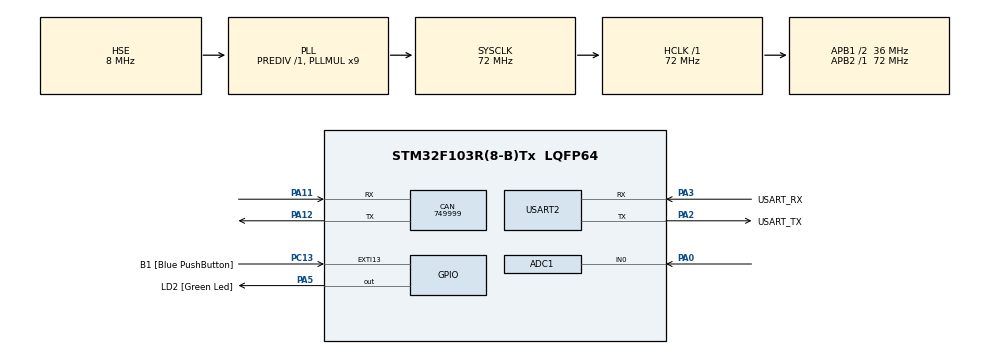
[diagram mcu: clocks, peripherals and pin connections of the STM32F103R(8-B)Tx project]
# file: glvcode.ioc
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ADC1.Channel-0\#ChannelRegularConversion=ADC_CHANNEL_0
ADC1.ContinuousConvMode=ENABLE
ADC1.NbrOfConversionFlag=1
ADC1.Rank-0\#ChannelRegularConversion=1
ADC1.SamplingTime-0\#ChannelRegularConversion=ADC_SAMPLETIME_1CYCLE_5
ADC1.master=1
CAN.BS1=CAN_BS1_1TQ
CAN.BS2=CAN_BS2_1TQ
CAN.CalculateBaudRate=749999
CAN.CalculateTimeBit=1333
CAN.CalculateTimeQuantum=444.44444444444446
Dma.ADC1.0.Direction=DMA_PERIPH_TO_MEMORY
Dma.ADC1.0.Instance=DMA1_Channel1
Dma.ADC1.0.MemDataAlignment=DMA_MDATAALIGN_WORD
Dma.ADC1.0.MemInc=DMA_MINC_ENABLE
Dma.ADC1.0.Mode=DMA_CIRCULAR
Dma.ADC1.0.PeriphDataAlignment=DMA_PDATAALIGN_WORD
Dma.ADC1.0.PeriphInc=DMA_PINC_DISABLE
Dma.ADC1.0.Priority=DMA_PRIORITY_LOW
Dma.Request0=ADC1
Mcu.Family=STM32F1
Mcu.Name=STM32F103R(8-B)Tx
Mcu.Package=LQFP64
NVIC.ADC1_2_IRQn=true\:0\:0\:false\:false\:true\:true\:true\:true
NVIC.DMA1_Channel1_IRQn=true\:0\:0\:false\:false\:true\:false\:true\:true
NVIC.EXTI15_10_IRQn=true\:0\:0\:false\:false\:true\:true\:true\:true
NVIC.PriorityGroup=NVIC_PRIORITYGROUP_4
PA0-WKUP.Signal=ADCx_IN0
PA11.Mode=CAN_Activate
PA11.Signal=CAN_RX
PA12.Mode=CAN_Activate
PA12.Signal=CAN_TX
PA13.GPIO_Label=TMS
PA13.Mode=Serial_Wire
PA13.Signal=SYS_JTMS-SWDIO
PA14.GPIO_Label=TCK
PA14.Mode=Serial_Wire
PA14.Signal=SYS_JTCK-SWCLK
PA2.GPIO_Label=USART_TX
PA2.GPIO_Mode=GPIO_MODE_AF_PP
PA2.GPIO_PuPd=GPIO_NOPULL
PA2.GPIO_Speed=GPIO_SPEED_FREQ_LOW
PA2.Mode=Asynchronous
PA2.Signal=USART2_TX
PA3.GPIO_Label=USART_RX
PA3.GPIO_Mode=GPIO_MODE_AF_PP
PA3.GPIO_PuPd=GPIO_NOPULL
PA3.GPIO_Speed=GPIO_SPEED_FREQ_LOW
PA3.Mode=Asynchronous
PA3.Signal=USART2_RX
PA5.GPIO_Label=LD2 [Green Led]
PA5.GPIO_ModeDefaultOutputPP=GPIO_MODE_OUTPUT_PP
PA5.GPIO_PuPd=GPIO_NOPULL
PA5.GPIO_Speed=GPIO_SPEED_FREQ_LOW
PA5.Signal=GPIO_Output
PB3.GPIO_Label=SWO
PB3.Signal=SYS_JTDO-TRACESWO
PC13-TAMPER-RTC.GPIO_Label=B1 [Blue PushButton]
PC13-TAMPER-RTC.GPIO_PuPd=GPIO_NOPULL
PC13-TAMPER-RTC.Signal=GPXTI13
PC14-OSC32_IN.Signal=RCC_OSC32_IN
PC15-OSC32_OUT.Signal=RCC_OSC32_OUT
PD0-OSC_IN.Mode=HSE-External-Oscillator
PD0-OSC_IN.Signal=RCC_OSC_IN
PD1-OSC_OUT.Mode=HSE-External-Oscillator
PD1-OSC_OUT.Signal=RCC_OSC_OUT
ProjectManager.HeapSize=0x200
ProjectManager.StackSize=0x400
ProjectManager.TargetToolchain=STM32CubeIDE
RCC.ADCPresc=RCC_ADCPCLK2_DIV6
RCC.AHBFreq_Value=72000000
RCC.APB1CLKDivider=RCC_HCLK_DIV2
RCC.APB1Freq_Value=36000000
RCC.APB1TimFreq_Value=72000000
RCC.APB2Freq_Value=72000000
RCC.APB2TimFreq_Value=72000000
RCC.HCLKFreq_Value=72000000
RCC.PLLMUL=RCC_PLL_MUL9
RCC.PLLSourceVirtual=RCC_PLLSOURCE_HSE
RCC.RTCClockSelection=RCC_RTCCLKSOURCE_LSE
RCC.SYSCLKFreq_VALUE=72000000
RCC.SYSCLKSource=RCC_SYSCLKSOURCE_PLLCLK
RCC.USBFreq_Value=72000000
SH.ADCx_IN0.0=ADC1_IN0,IN0
USART2.VirtualMode=VM_ASYNC
board=NUCLEO-F103RB

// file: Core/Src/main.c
/* USER CODE BEGIN Header */
/**
  ******************************************************************************
  * @file           : main.c
  * @brief          : Main program body
  ******************************************************************************
  * @attention
  *
  * Copyright (c) 2024 STMicroelectronics.
  * All rights reserved.
  *
  * This software is licensed under terms that can be found in the LICENSE file
  * in the root directory of this software component.
  * If no LICENSE file comes with this software, it is provided AS-IS.
  *
  ******************************************************************************
  */
/* USER CODE END Header */
#include "main.h"

/* USER CODE END Includes */

ADC_HandleTypeDef hadc1;
DMA_HandleTypeDef hdma_adc1;

CAN_HandleTypeDef hcan;

UART_HandleTypeDef huart2;

/* USER CODE BEGIN PV */
int isInterrupt = 0;
uint16_t adcVal = 0, lvVoltage = 0;
float voltage = 0;
/* USER CODE END PV */

void SystemClock_Config(void);
static void MX_GPIO_Init(void);
static void MX_DMA_Init(void);
static void MX_USART2_UART_Init(void);
static void MX_ADC1_Init(void);
static void MX_CAN_Init(void);
/* USER CODE BEGIN PFP */
void HAL_ADC_ConvCpltCallback(ADC_HandleTypeDef* hadc) //função de tratamento
{
  isInterrupt = 1;
}

float adcVoltageConversion(uint32_t adc_value){
	float v = (3.3*adc_value)/4095 ;
	return v;
}

uint16_t readTwelve(float v){
	uint16_t x = (v*12)/3;
	return x;
}
/* USER CODE END PFP */

/* USER CODE BEGIN 0 */

  /*If continuousconversion mode is DISABLED uncomment below*/
//HAL_ADC_Start_IT (&hadc1);

/* USER CODE END 0 */

int main(void)
{

  /* MCU Configuration--------------------------------------------------------*/

  /* Reset of all peripherals, Initializes the Flash interface and the Systick. */
  HAL_Init();

  /* Configure the system clock */
  SystemClock_Config();

  /* Initialize all configured peripherals */
  MX_GPIO_Init();
  MX_DMA_Init();
  MX_USART2_UART_Init();
  MX_ADC1_Init();
  MX_CAN_Init();
  /* USER CODE BEGIN 2 */
  HAL_ADC_Start_IT (&hadc1);
  /* USER CODE END 2 */

  /* Infinite loop */
  /* USER CODE BEGIN WHILE */
  while (1) {
	   if (isInterrupt == 1) {
	   adcVal = HAL_ADC_GetValue(&hadc1);
	   voltage = adcVoltageConversion(adcVal);
	   lvVoltage = readTwelve(voltage);
	   HAL_Delay(100);
	   isInterrupt = 0;

	   }
  }
    /* USER CODE END WHILE */

  /* USER CODE END 3 */

void SystemClock_Config(void)
{
  RCC_OscInitTypeDef RCC_OscInitStruct = {0};
  RCC_ClkInitTypeDef RCC_ClkInitStruct = {0};
  RCC_PeriphCLKInitTypeDef PeriphClkInit = {0};

  /** Initializes the RCC Oscillators according to the specified parameters
  * in the RCC_OscInitTypeDef structure.
  */
  RCC_OscInitStruct.OscillatorType = RCC_OSCILLATORTYPE_HSE;
  RCC_OscInitStruct.HSEState = RCC_HSE_ON;
  RCC_OscInitStruct.HSEPredivValue = RCC_HSE_PREDIV_DIV1;
  RCC_OscInitStruct.HSIState = RCC_HSI_ON;
  RCC_OscInitStruct.PLL.PLLState = RCC_PLL_ON;
  RCC_OscInitStruct.PLL.PLLSource = RCC_PLLSOURCE_HSE;
  RCC_OscInitStruct.PLL.PLLMUL = RCC_PLL_MUL9;
  if (HAL_RCC_OscConfig(&RCC_OscInitStruct) != HAL_OK)
  {
    Error_Handler();
  }

  /** Initializes the CPU, AHB and APB buses clocks
  */
  RCC_ClkInitStruct.ClockType = RCC_CLOCKTYPE_HCLK|RCC_CLOCKTYPE_SYSCLK
                              |RCC_CLOCKTYPE_PCLK1|RCC_CLOCKTYPE_PCLK2;
  RCC_ClkInitStruct.SYSCLKSource = RCC_SYSCLKSOURCE_PLLCLK;
  RCC_ClkInitStruct.AHBCLKDivider = RCC_SYSCLK_DIV1;
  RCC_ClkInitStruct.APB1CLKDivider = RCC_HCLK_DIV2;
  RCC_ClkInitStruct.APB2CLKDivider = RCC_HCLK_DIV1;

  if (HAL_RCC_ClockConfig(&RCC_ClkInitStruct, FLASH_LATENCY_2) != HAL_OK)
  {
    Error_Handler();
  }
  PeriphClkInit.PeriphClockSelection = RCC_PERIPHCLK_ADC;
  PeriphClkInit.AdcClockSelection = RCC_ADCPCLK2_DIV6;
  if (HAL_RCCEx_PeriphCLKConfig(&PeriphClkInit) != HAL_OK)
  {
    Error_Handler();
  }
}

static void MX_ADC1_Init(void)
{

  ADC_ChannelConfTypeDef sConfig = {0};

  /** Common config
  */
  hadc1.Instance = ADC1;
  hadc1.Init.ScanConvMode = ADC_SCAN_DISABLE;
  hadc1.Init.ContinuousConvMode = ENABLE;
  hadc1.Init.DiscontinuousConvMode = DISABLE;
  hadc1.Init.ExternalTrigConv = ADC_SOFTWARE_START;
  hadc1.Init.DataAlign = ADC_DATAALIGN_RIGHT;
  hadc1.Init.NbrOfConversion = 1;
  if (HAL_ADC_Init(&hadc1) != HAL_OK)
  {
    Error_Handler();
  }

  /** Configure Regular Channel
  */
  sConfig.Channel = ADC_CHANNEL_0;
  sConfig.Rank = ADC_REGULAR_RANK_1;
  sConfig.SamplingTime = ADC_SAMPLETIME_1CYCLE_5;
  if (HAL_ADC_ConfigChannel(&hadc1, &sConfig) != HAL_OK)
  {
    Error_Handler();
  }

}

static void MX_CAN_Init(void)
{

  hcan.Instance = CAN1;
  hcan.Init.Prescaler = 16;
  hcan.Init.Mode = CAN_MODE_NORMAL;
  hcan.Init.SyncJumpWidth = CAN_SJW_1TQ;
  hcan.Init.TimeSeg1 = CAN_BS1_1TQ;
  hcan.Init.TimeSeg2 = CAN_BS2_1TQ;
  hcan.Init.TimeTriggeredMode = DISABLE;
  hcan.Init.AutoBusOff = DISABLE;
  hcan.Init.AutoWakeUp = DISABLE;
  hcan.Init.AutoRetransmission = DISABLE;
  hcan.Init.ReceiveFifoLocked = DISABLE;
  hcan.Init.TransmitFifoPriority = DISABLE;
  if (HAL_CAN_Init(&hcan) != HAL_OK)
  {
    Error_Handler();
  }

}

static void MX_USART2_UART_Init(void)
{

  huart2.Instance = USART2;
  huart2.Init.BaudRate = 115200;
  huart2.Init.WordLength = UART_WORDLENGTH_8B;
  huart2.Init.StopBits = UART_STOPBITS_1;
  huart2.Init.Parity = UART_PARITY_NONE;
  huart2.Init.Mode = UART_MODE_TX_RX;
  huart2.Init.HwFlowCtl = UART_HWCONTROL_NONE;
  huart2.Init.OverSampling = UART_OVERSAMPLING_16;
  if (HAL_UART_Init(&huart2) != HAL_OK)
  {
    Error_Handler();
  }

}

static void MX_DMA_Init(void)
{

  /* DMA controller clock enable */
  __HAL_RCC_DMA1_CLK_ENABLE();

  /* DMA interrupt init */
  /* DMA1_Channel1_IRQn interrupt configuration */
  HAL_NVIC_SetPriority(DMA1_Channel1_IRQn, 0, 0);
  HAL_NVIC_EnableIRQ(DMA1_Channel1_IRQn);

}

static void MX_GPIO_Init(void)
{
  GPIO_InitTypeDef GPIO_InitStruct = {0};

  /* GPIO Ports Clock Enable */
  __HAL_RCC_GPIOC_CLK_ENABLE();
  __HAL_RCC_GPIOD_CLK_ENABLE();
  __HAL_RCC_GPIOA_CLK_ENABLE();
  __HAL_RCC_GPIOB_CLK_ENABLE();

  /*Configure GPIO pin Output Level */
  HAL_GPIO_WritePin(LD2_GPIO_Port, LD2_Pin, GPIO_PIN_RESET);

  /*Configure GPIO pin : B1_Pin */
  GPIO_InitStruct.Pin = B1_Pin;
  GPIO_InitStruct.Mode = GPIO_MODE_IT_RISING;
  GPIO_InitStruct.Pull = GPIO_NOPULL;
  HAL_GPIO_Init(B1_GPIO_Port, &GPIO_InitStruct);

  /*Configure GPIO pin : LD2_Pin */
  GPIO_InitStruct.Pin = LD2_Pin;
  GPIO_InitStruct.Mode = GPIO_MODE_OUTPUT_PP;
  GPIO_InitStruct.Pull = GPIO_NOPULL;
  GPIO_InitStruct.Speed = GPIO_SPEED_FREQ_LOW;
  HAL_GPIO_Init(LD2_GPIO_Port, &GPIO_InitStruct);

  /* EXTI interrupt init*/
  HAL_NVIC_SetPriority(EXTI15_10_IRQn, 0, 0);
  HAL_NVIC_EnableIRQ(EXTI15_10_IRQn);

}

void Error_Handler(void)
{
  __disable_irq();
  while (1)
  {
  }
}
